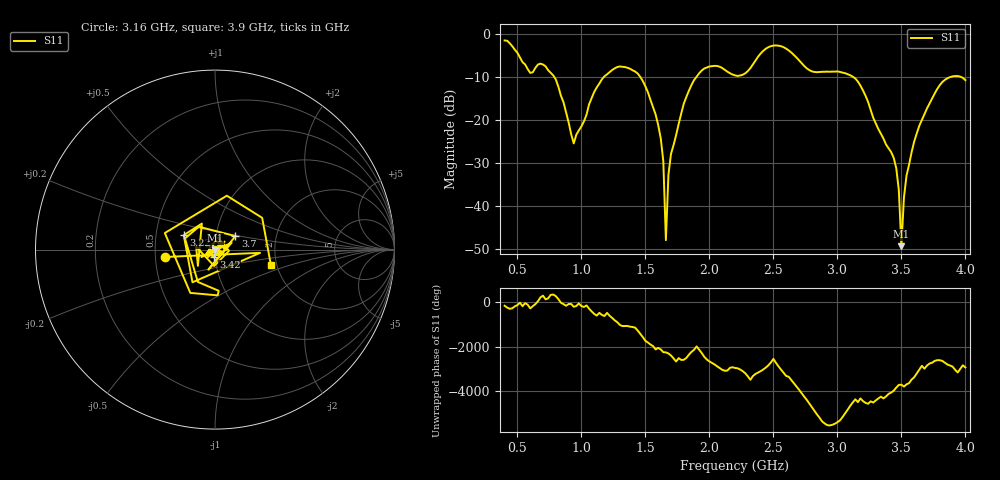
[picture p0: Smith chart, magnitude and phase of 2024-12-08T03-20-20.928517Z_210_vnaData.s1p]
!Created with skrf (http://scikit-rf.org).
# Hz S RI R 50.0
!freq ReS11 ImS11
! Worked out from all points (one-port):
!   181 points, 400 MHz to 4 GHz, reference 50 ohm
!   lowest |S11| = -49.4 dB at 3.5 GHz (marker M1), VSWR 1.01, Z = 49.9 - j0.323 ohm
!   |S11| at or under -10 dB: 788.8 MHz to 1.174 GHz (385.2 MHz wide, 39.2 % of centre); 1.461 GHz to 1.897 GHz (435.5 MHz wide, 25.9 % of centre); 3.126 GHz to 3.879 GHz (753.1 MHz wide, 21.5 % of centre) (the widest 3 of 4)
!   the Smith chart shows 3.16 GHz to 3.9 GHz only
!   S11 on the Smith chart (normalised r, x): 3.16 GHz: 0.56, -0.05; 3.22 GHz: 0.70, +0.12; 3.42 GHz: 0.98, -0.08; 3.7 GHz: 1.24, +0.19; 3.9 GHz: 1.86, -0.36
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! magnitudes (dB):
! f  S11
! 400 MHz  -1.4
! 600 MHz  -9.0
! 720 MHz  -7.5
! 860 MHz  -15.8
! 940 MHz  -25.4
! 1.12 GHz  -12.4
! 1.3 GHz  -7.5
! 1.46 GHz  -9.9
! 1.58 GHz  -18.7
! 1.64 GHz  -29.6
! 1.66 GHz  -48.0
! 1.68 GHz  -32.7
! 1.76 GHz  -20.9
! 1.94 GHz  -8.4
! 2.2 GHz  -9.6
! 2.48 GHz  -2.8
! 2.66 GHz  -4.8
! 3.1 GHz  -9.5
! 3.16 GHz  -11.0
! 3.22 GHz  -14.4
! 3.42 GHz  -27.5
! 3.48 GHz  -36.4
! 3.5 GHz  -49.4
! 3.52 GHz  -38.0
! 3.56 GHz  -30.4
! 3.7 GHz  -17.3
! 3.9 GHz  -9.8
! 4 GHz  -10.7
